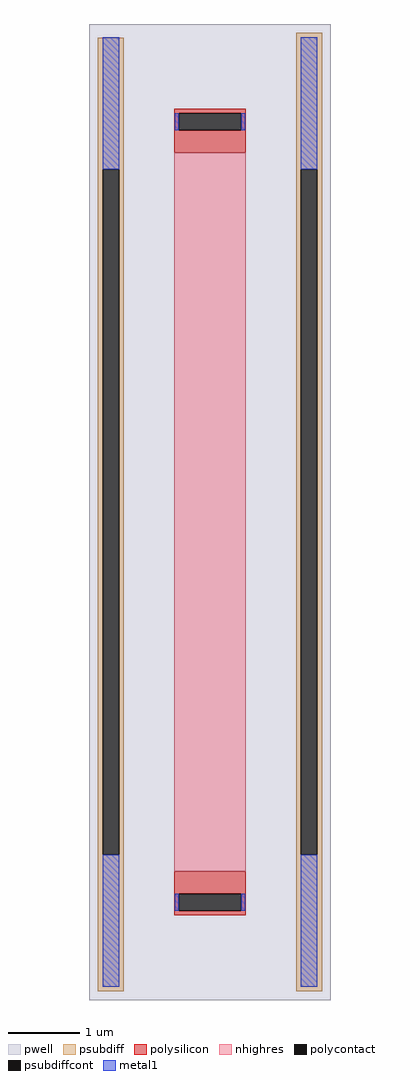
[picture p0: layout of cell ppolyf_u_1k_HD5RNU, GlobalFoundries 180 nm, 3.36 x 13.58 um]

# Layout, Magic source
magic
tech gf180mcuD
magscale 1 10
<< pwell >>
rect -336 -1358 336 1358
<< psubdiff >>
rect -312 954 -240 1320
rect -312 -954 -299 954
rect -253 -954 -240 954
rect -312 -1334 -240 -954
rect 240 954 312 1334
rect 240 -954 253 954
rect 299 -954 312 954
rect 240 -1334 312 -954
<< psubdiffcont >>
rect -299 -954 -253 954
rect 253 -954 299 954
<< polysilicon >>
rect -100 1109 100 1122
rect -100 1063 -87 1109
rect 87 1063 100 1109
rect -100 1000 100 1063
rect -100 -1063 100 -1000
rect -100 -1109 -87 -1063
rect 87 -1109 100 -1063
rect -100 -1122 100 -1109
<< polycontact >>
rect -87 1063 87 1109
rect -87 -1109 87 -1063
<< nhighres >>
rect -100 -1000 100 1000
<< metal1 >>
rect -299 954 -253 1321
rect -98 1063 -87 1109
rect 87 1063 98 1109
rect -299 -1321 -253 -954
rect 253 954 299 1321
rect -98 -1109 -87 -1063
rect 87 -1109 98 -1063
rect 253 -1321 299 -954
<< properties >>
string FIXED_BBOX -276 -1298 276 1298
string gencell ppolyf_u_1k
string library gf180mcu
string parameters w 1.0 l 10.0 m 1 nx 1 wmin 1.000 lmin 1.000 class resistor rho 1000 val 10.305k dummy 0 dw 0.0296 term 0.0 sterm 0.0 caplen 0.4 snake 0 glc 1 grc 1 gtc 0 gbc 0 roverlap 0 endcov 100 full_metal 1 guard 1 guard_type pwell compatible {ppolyf_u_1k ppolyf_u_1k_6p0}
<< end >>
